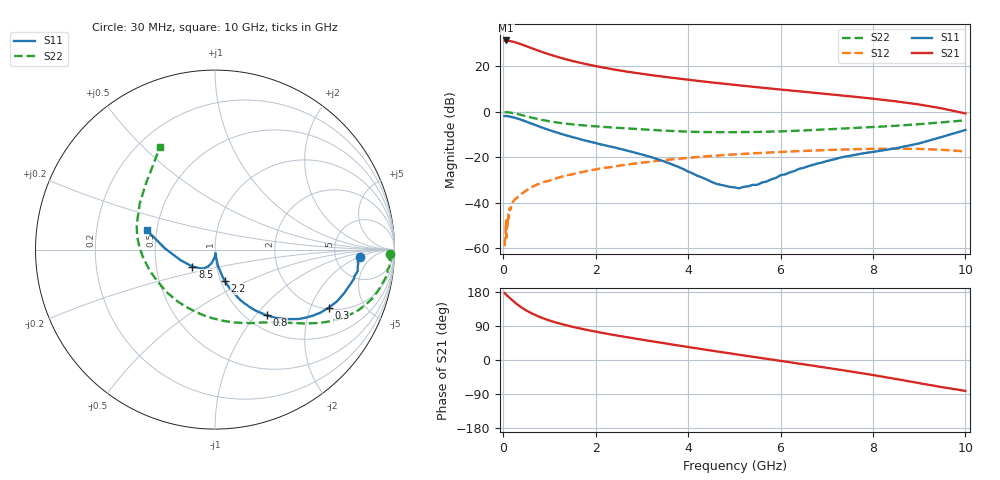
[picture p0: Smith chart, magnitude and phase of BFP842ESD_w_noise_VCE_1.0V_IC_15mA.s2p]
! Infineon Technologies  Discrete & RF Semiconductors
! BFP842ESD
! VCE =  1.0 V,  IC =  15 mA
! Common Emitter S-Parameters:  May 2012
# GHz  S  MA  R  50
!  f  S11  S21  S12  S22
! GHz  MAG  ANG  MAG  ANG  MAG  ANG  MAG  ANG
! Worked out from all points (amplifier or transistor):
!   99 points, 30 MHz to 10 GHz, reference 50 ohm
!   highest |S21| = 31.4 dB at 60 MHz (marker M1)
!   |S21| within 3 dB of that: start of sweep to 562.7 MHz
!   unconditionally stable (mu >= 1): start of sweep to 30.25 MHz; 2.229 GHz to end of sweep
!   at 350 MHz: K = 0.39, MSG = 33.6 dB, |S12| = -37.3 dB
!   at 3.5 GHz: K = 1.10, MAG = 16.4 dB, |S12| = -21.2 dB
!   at 10 GHz: K = 1.99, MAG = 2.7 dB, |S12| = -17.5 dB
!   lowest NFmin = 0.71 dB at 450 MHz
!   S11 on the Smith chart (normalised r, x): 30 MHz: 8.94, -2.20; 300 MHz: 2.06, -2.71; 800 MHz: 1.22, -1.14; 2.2 GHz: 1.05, -0.38; 8.5 GHz: 0.76, -0.15; 10 GHz: 0.44, +0.11
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0.03  0.8093 -3.0  36.69 176.7  0.0011 -4.6  0.9742 -1.4
0.05  0.7977 -5.1  36.49 173.9  0.0021 16.1  0.972 -3.2
0.06  0.8024 -5.5  37.05 172.8  0.004 149.3  0.9829 -3.5
0.07  0.8006 -6.6  36.66 171.8  0.0017 147.6  0.975 -4.3
0.11  0.7905 -10.8  36.56 167.0  0.0054 77.0  0.9701 -7.6
0.15  0.7775 -14.5  35.86 162.6  0.0068 83.1  0.9573 -10.4
0.25  0.7383 -23.0  34.01 152.1  0.0117 84.5  0.9194 -17.1
0.3  0.7113 -27.1  32.68 147.1  0.0129 75.2  0.8945 -20.0
0.4  0.6591 -33.9  30.18 138.3  0.0158 70.5  0.844 -24.9
0.5  0.6043 -39.8  27.76 130.7  0.0185 69.6  0.7941 -29.1
0.6  0.5535 -44.4  25.37 124.0  0.0215 67.4  0.7487 -32.4
0.8  0.4651 -51.9  21.37 113.0  0.0267 63.1  0.6732 -37.6
1  0.395 -57.4  18.28 104.2  0.0304 60.9  0.6159 -41.7
1.2  0.3389 -61.5  15.82 96.9  0.0356 58.6  0.5738 -45.2
1.4  0.295 -64.5  13.93 90.5  0.0403 57.7  0.5412 -48.4
1.7  0.2423 -68.2  11.73 82.3  0.0467 53.7  0.504 -53.4
2.2  0.1831 -72.7  9.253 70.3  0.0585 49.5  0.4619 -62.3
3.4  0.0859 -79.8  6.026 45.9  0.0841 36.3  0.3879 -88.6
5.1  0.0206 -80.2  3.812 13.9  0.1169 13.7  0.3556 -134.3
6.7  0.0676 -101.6  2.63 -15.0  0.14 -8.6  0.3955 -170.7
8.5  0.1573 -143.2  1.693 -50.1  0.1534 -38.9  0.4915 148.6
10  0.3966 164.0  0.917 -81.4  0.1338 -69.9  0.6469 118.4
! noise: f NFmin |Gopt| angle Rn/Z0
0.45  0.71  0.03  -24  0.09
0.9  0.71  0.02  -61  0.08
1.5  0.73  0.03  -97  0.08
1.9  0.73  0.04  -116  0.08
2.4  0.73  0.06  -122  0.08
3.5  0.8  0.08  -128  0.08
4  0.83  0.09  -124  0.09
5  0.9  0.13  -112  0.09
5.5  1.01  0.15  -109  0.1
6  1.11  0.15  -106  0.11
